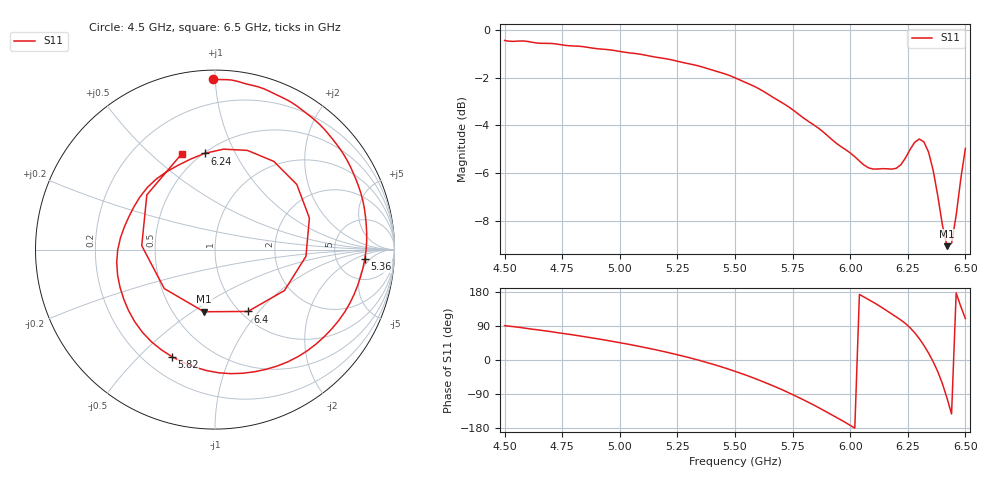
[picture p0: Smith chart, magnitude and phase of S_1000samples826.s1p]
! TOUCHSTONE file generated by CST MICROWAVE STUDIO
! Date and time: Sat Oct 29 12:45:23 2022
! Project name: L.cst
! Parameters = {Di=1.27; Epsilon_r=1.56; InnerDiameter=1.27; Length=2; Lf=10; Lg=60; OuterConductorThickness=0.2921; OuterDiameter=3.6; Wf=3; Wp=41.2; de=1.5; df=6.8; g=0.8; gx=4.8013; gy=2.66111; h=2.34; hf=1.524; px=11.6465; py=13.4977; w=9.7; wx=6.8452; wy=10.8366}
! Header version: 2018
! Port assignment regex: !\s*Touchstone port\s*([0-9]+)\s*=\s*(CST MWS port|CST DS port)\s*([0-9]+|Zmin|Zmax)\s*\(\"(.*)\"\)(\s*mode\s*([0-9]+))?.*
! Touchstone port assignment:
! Touchstone port 1 = CST MWS port 1 ("")
# GHz S DB R 50
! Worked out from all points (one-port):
!   101 points, 4.5 GHz to 6.5 GHz, reference 50 ohm
!   lowest |S11| = -9.1 dB at 6.42 GHz (marker M1), VSWR 2.09, Z = 35.2 - j27.8 ohm
!   |S11| at or under -10 dB: nowhere
!   S11 on the Smith chart (normalised r, x): 4.5 GHz: 0.05, +0.99; 5.36 GHz: 10, -3; 5.82 GHz: 0.31, -0.63; 6.24 GHz: 0.50, +0.76; 6.4 GHz: 1.08, -0.88; 6.5 GHz: 0.40, +0.63
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4.5  -0.43 90.6
4.76  -0.63 69.5
5  -0.89 45.7
5.14  -1.10 29.0
5.26  -1.33 12.4
5.36  -1.55 -3.5
5.5  -2.00 -29.9
5.64  -2.67 -61.8
5.7  -3.02 -77.3
5.76  -3.41 -94.2
5.82  -3.84 -112.0
5.92  -4.59 -144.8
6  -5.16 -172.5
6.12  -5.83 145.2
6.18  -5.84 121.5
6.24  -5.37 96.2
6.26  -5.01 85.2
6.3  -4.57 56.3
6.32  -4.69 38.5
6.34  -5.12 18.5
6.36  -5.88 -4.2
6.38  -6.95 -30.5
6.4  -8.17 -62.0
6.42  -9.08 -100.0
6.44  -8.96 -142.4
6.46  -7.77 177.0
6.48  -6.25 141.2
6.5  -4.97 109.2
